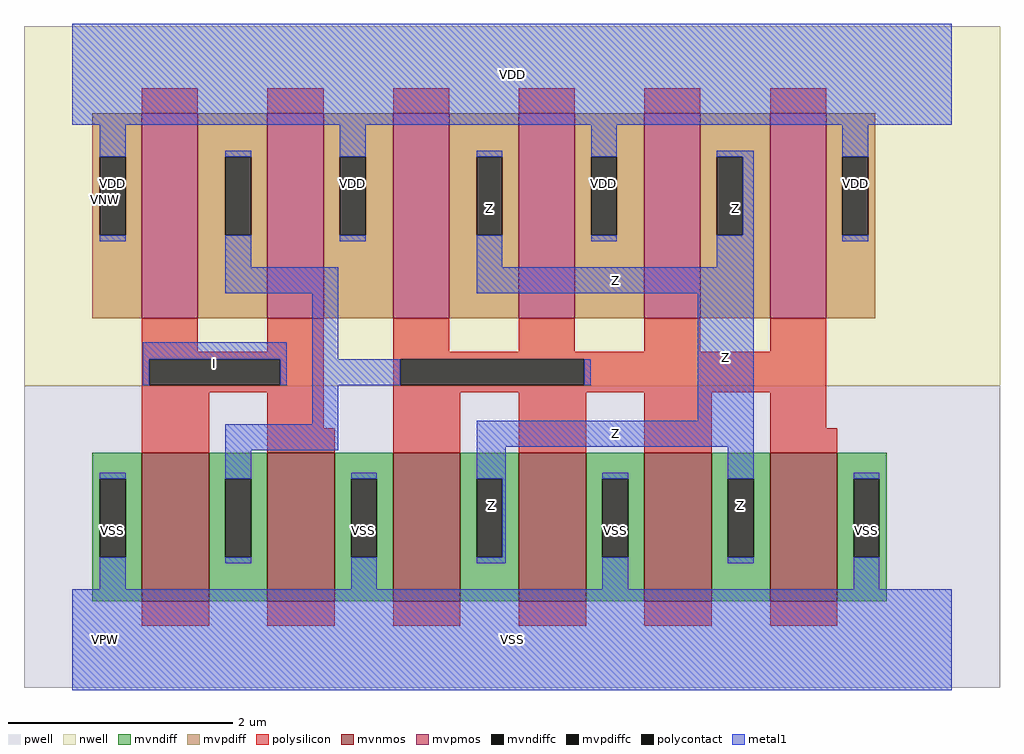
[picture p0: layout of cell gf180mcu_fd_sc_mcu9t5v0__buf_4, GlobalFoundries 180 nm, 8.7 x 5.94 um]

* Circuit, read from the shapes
.subckt gf180mcu_fd_sc_mcu9t5v0__buf_4 I Z VDD VNW VPW VSS
XM1 n1 I VSS VPW nfet_06v0 w=1.32u l=0.6u m=2
XM2 Z n1 VSS VPW nfet_06v0 w=1.32u l=0.6u m=4
XM3 n1 I VDD VNW pfet_06v0 w=1.83u l=0.5u m=2
XM4 Z n1 VDD VNW pfet_06v0 w=1.83u l=0.5u m=4
.ends

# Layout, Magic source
magic
tech gf180mcuD
magscale 1 10
<< nwell >>
rect -86 453 1654 1094
<< pwell >>
rect -86 -86 1654 453
<< mvnmos >>
rect 124 69 244 333
rect 348 69 468 333
rect 572 69 692 333
rect 796 69 916 333
rect 1020 69 1140 333
rect 1244 69 1364 333
<< mvpmos >>
rect 124 573 224 939
rect 348 573 448 939
rect 572 573 672 939
rect 796 573 896 939
rect 1020 573 1120 939
rect 1244 573 1344 939
<< mvndiff >>
rect 36 287 124 333
rect 36 147 49 287
rect 95 147 124 287
rect 36 69 124 147
rect 244 287 348 333
rect 244 147 273 287
rect 319 147 348 287
rect 244 69 348 147
rect 468 287 572 333
rect 468 147 497 287
rect 543 147 572 287
rect 468 69 572 147
rect 692 287 796 333
rect 692 147 721 287
rect 767 147 796 287
rect 692 69 796 147
rect 916 287 1020 333
rect 916 147 945 287
rect 991 147 1020 287
rect 916 69 1020 147
rect 1140 287 1244 333
rect 1140 147 1169 287
rect 1215 147 1244 287
rect 1140 69 1244 147
rect 1364 287 1452 333
rect 1364 147 1393 287
rect 1439 147 1452 287
rect 1364 69 1452 147
<< mvpdiff >>
rect 36 861 124 939
rect 36 721 49 861
rect 95 721 124 861
rect 36 573 124 721
rect 224 861 348 939
rect 224 721 273 861
rect 319 721 348 861
rect 224 573 348 721
rect 448 861 572 939
rect 448 721 477 861
rect 523 721 572 861
rect 448 573 572 721
rect 672 861 796 939
rect 672 721 721 861
rect 767 721 796 861
rect 672 573 796 721
rect 896 861 1020 939
rect 896 721 925 861
rect 971 721 1020 861
rect 896 573 1020 721
rect 1120 861 1244 939
rect 1120 721 1149 861
rect 1195 721 1244 861
rect 1120 573 1244 721
rect 1344 861 1432 939
rect 1344 721 1373 861
rect 1419 721 1432 861
rect 1344 573 1432 721
<< mvndiffc >>
rect 49 147 95 287
rect 273 147 319 287
rect 497 147 543 287
rect 721 147 767 287
rect 945 147 991 287
rect 1169 147 1215 287
rect 1393 147 1439 287
<< mvpdiffc >>
rect 49 721 95 861
rect 273 721 319 861
rect 477 721 523 861
rect 721 721 767 861
rect 925 721 971 861
rect 1149 721 1195 861
rect 1373 721 1419 861
<< polysilicon >>
rect 124 939 224 983
rect 348 939 448 983
rect 572 939 672 983
rect 796 939 896 983
rect 1020 939 1120 983
rect 1244 939 1344 983
rect 124 513 224 573
rect 348 513 448 573
rect 124 500 448 513
rect 124 454 137 500
rect 371 454 448 500
rect 124 441 448 454
rect 124 333 244 441
rect 348 377 448 441
rect 572 513 672 573
rect 796 513 896 573
rect 1020 513 1120 573
rect 1244 513 1344 573
rect 572 500 1344 513
rect 572 454 585 500
rect 913 454 1344 500
rect 572 441 1344 454
rect 348 333 468 377
rect 572 333 692 441
rect 796 333 916 441
rect 1020 333 1140 441
rect 1244 377 1344 441
rect 1244 333 1364 377
rect 124 25 244 69
rect 348 25 468 69
rect 572 25 692 69
rect 796 25 916 69
rect 1020 25 1140 69
rect 1244 25 1364 69
<< polycontact >>
rect 137 454 371 500
rect 585 454 913 500
<< metal1 >>
rect 0 918 1568 1098
rect 49 861 95 918
rect 49 710 95 721
rect 273 861 319 872
rect 273 664 319 721
rect 477 861 523 918
rect 477 710 523 721
rect 721 861 767 872
rect 721 664 767 721
rect 925 861 971 918
rect 925 710 971 721
rect 1149 861 1215 872
rect 1195 721 1215 861
rect 1149 664 1215 721
rect 1373 861 1419 918
rect 1373 710 1419 721
rect 273 618 474 664
rect 721 618 1215 664
rect 126 500 382 530
rect 126 454 137 500
rect 371 454 382 500
rect 428 500 474 618
rect 428 454 585 500
rect 913 454 924 500
rect 428 384 474 454
rect 1115 390 1215 618
rect 273 338 474 384
rect 721 344 1215 390
rect 49 287 95 298
rect 49 90 95 147
rect 273 287 319 338
rect 273 136 319 147
rect 497 287 543 298
rect 497 90 543 147
rect 721 287 773 344
rect 767 147 773 287
rect 721 136 773 147
rect 945 287 991 298
rect 945 90 991 147
rect 1169 287 1215 344
rect 1169 136 1215 147
rect 1393 287 1439 298
rect 1393 90 1439 147
rect 0 -90 1568 90
<< labels >>
flabel metal1 s 126 454 382 530 0 FreeSans 200 0 0 0 I
port 1 nsew default input
flabel metal1 s 0 918 1568 1098 0 FreeSans 200 0 0 0 VDD
port 3 nsew power bidirectional abutment
flabel metal1 s 1393 90 1439 298 0 FreeSans 200 0 0 0 VSS
port 6 nsew ground bidirectional abutment
flabel metal1 s 1149 664 1215 872 0 FreeSans 200 0 0 0 Z
port 2 nsew default output
flabel nwell s 10 734 110 834 0 FreeSans 400 0 0 0 VNW
port 4 nsew power bidirectional
flabel pwell s 10 -50 110 50 0 FreeSans 400 0 0 0 VPW
port 5 nsew ground bidirectional
rlabel metal1 s 721 664 767 872 1 Z
port 2 nsew default output
rlabel metal1 s 721 618 1215 664 1 Z
port 2 nsew default output
rlabel metal1 s 1115 390 1215 618 1 Z
port 2 nsew default output
rlabel metal1 s 721 344 1215 390 1 Z
port 2 nsew default output
rlabel metal1 s 1169 136 1215 344 1 Z
port 2 nsew default output
rlabel metal1 s 721 136 773 344 1 Z
port 2 nsew default output
rlabel metal1 s 1373 710 1419 918 1 VDD
port 3 nsew power bidirectional abutment
rlabel metal1 s 925 710 971 918 1 VDD
port 3 nsew power bidirectional abutment
rlabel metal1 s 477 710 523 918 1 VDD
port 3 nsew power bidirectional abutment
rlabel metal1 s 49 710 95 918 1 VDD
port 3 nsew power bidirectional abutment
rlabel metal1 s 945 90 991 298 1 VSS
port 6 nsew ground bidirectional abutment
rlabel metal1 s 497 90 543 298 1 VSS
port 6 nsew ground bidirectional abutment
rlabel metal1 s 49 90 95 298 1 VSS
port 6 nsew ground bidirectional abutment
rlabel metal1 s 0 -90 1568 90 1 VSS
port 6 nsew ground bidirectional abutment
<< properties >>
string FIXED_BBOX 0 0 1568 1008
string GDS_END 1273876
string GDS_FILE $PDKPATH/libs.ref/gf180mcu_fd_sc_mcu9t5v0/gds/gf180mcu_fd_sc_mcu9t5v0.gds
string GDS_START 1269166
string LEFclass core
string LEFsite GF018hv5v_green_sc9
string LEFsymmetry X Y
<< end >>
